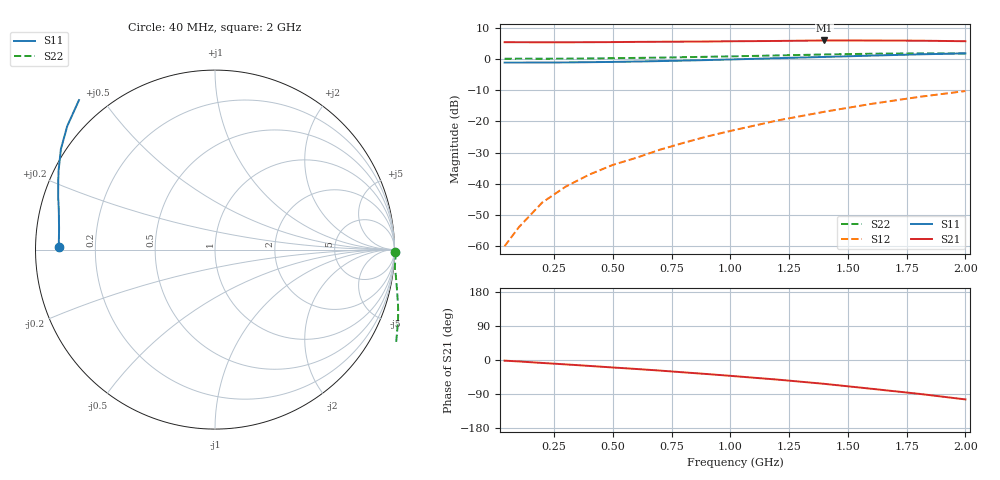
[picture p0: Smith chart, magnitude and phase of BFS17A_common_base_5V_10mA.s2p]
! Filename:  BFS17ACC.S2P  Version:  2.0
! Philips part #: BFS17A  Date: Jul 1990
! Bias condition: Vce=5V, Ic=10mA
! COMMON BASE
#  MHz  S  MA  R  50
! Freq  S11  S21  S12  S22
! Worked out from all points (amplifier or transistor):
!   16 points, 40 MHz to 2 GHz, reference 50 ohm
!   highest |S21| = 5.9 dB at 1.4 GHz (marker M1)
!   |S21| within 3 dB of that: start of sweep to end of sweep
!   unconditionally stable (mu >= 1): nowhere
!   at 200 MHz: K = -0.54, MSG = 25.7 dB, |S12| = -46.0 dB
!   at 800 MHz: K = -0.86, MSG = 16.2 dB, |S12| = -26.9 dB
!   at 2 GHz: K = -0.62, MSG = 8.0 dB, |S12| = -10.3 dB
40  0.871 178.9  1.847 -1.7  0.001 70.4  1.004 -0.9
100  0.871 177.3  1.846 -3.8  0.002 94.3  1.007 -1.7
200  0.873 174.7  1.842 -7.8  0.005 114.9  1.006 -3.9
300  0.877 172.1  1.842 -11.6  0.009 122.8  1.007 -5.8
400  0.884 169.6  1.848 -15.6  0.014 129.8  1.016 -7.8
500  0.893 166.9  1.855 -19.7  0.02 134.1  1.025 -9.8
600  0.905 164.3  1.868 -23.7  0.026 136.6  1.035 -11.8
700  0.921 161.6  1.877 -27.9  0.035 138.9  1.047 -14.0
800  0.937 158.8  1.886 -32.5  0.045 139.8  1.062 -16.3
900  0.956 156.0  1.894 -37.0  0.057 140.4  1.079 -18.9
1000  0.977 153.1  1.912 -41.8  0.07 140.3  1.095 -21.4
1200  1.025 146.9  1.934 -51.7  0.103 138.9  1.134 -27.1
1400  1.073 140.1  1.97 -62.9  0.142 135.4  1.175 -33.6
1600  1.126 132.3  1.966 -75.9  0.19 131.2  1.208 -41.1
1800  1.18 123.8  1.954 -89.1  0.245 125.0  1.226 -49.7
2000  1.223 115.0  1.915 -104.0  0.305 117.9  1.224 -59.8
